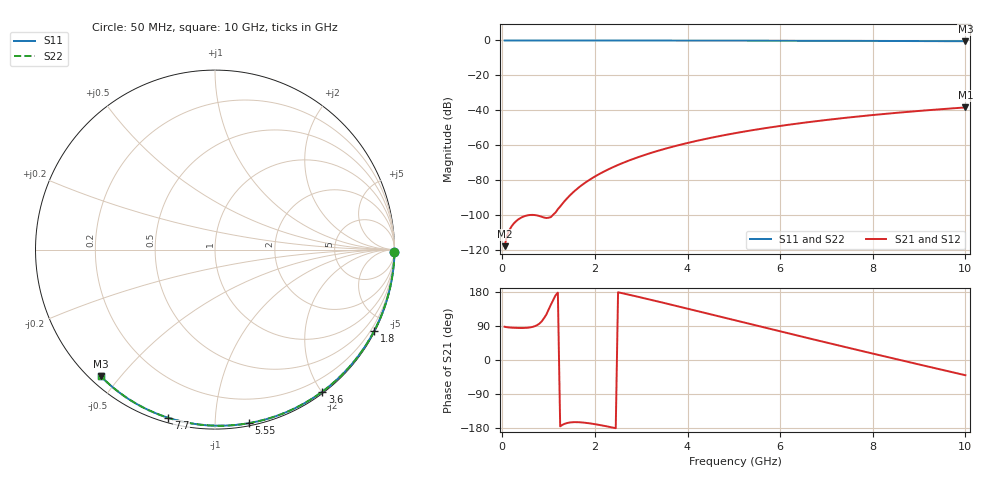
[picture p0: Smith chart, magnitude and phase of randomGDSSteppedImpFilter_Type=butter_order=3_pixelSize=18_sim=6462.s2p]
! freq	dB(S11)	phase(S11)	dB(S12)	phase(S12)
!  dB(S21)	phase(S21)	dB(S22)	phase(S22)
!S-par simulation data
#  GHz  S  DB  R 50
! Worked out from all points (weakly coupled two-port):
!   200 points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, 50 MHz to 10 GHz, reference 50 ohm
!   highest |S21| = -38.39 dB at 10 GHz (marker M1); lowest = -117.9 dB at 50 MHz (marker M2)
!   lowest |S11| = -0.4 dB at 10 GHz (marker M3), VSWR 38.98, Z = 1.54 - j22.2 ohm
!   |S11| at or under -10 dB: nowhere
!   |S22| runs from -0.4 to 0.0 dB; largest |S21 - S12| = 0
!   S11 on the Smith chart (normalised r, x): 50 MHz: open; 1.8 GHz: 0.04, -4.15; 3.6 GHz: 0.02, -2.01; 5.55 GHz: 0.02, -1.21; 7.7 GHz: 0.02, -0.76; 10 GHz: 0.03, -0.44
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0.05  -0.00 -0.8  -117.92 87.8  -117.92 87.8  -0.00 -0.8
0.9  -0.02 -13.7  -101.48 110.1  -101.48 110.1  -0.02 -13.6
1.75  -0.03 -26.3  -82.28 -165.1  -82.28 -165.1  -0.03 -26.3
1.8  -0.03 -27.1  -81.34 -165.8  -81.34 -165.8  -0.03 -27.0
1.85  -0.04 -27.8  -80.45 -166.5  -80.45 -166.5  -0.04 -27.8
1.9  -0.04 -28.5  -79.59 -167.4  -79.59 -167.4  -0.04 -28.5
2.05  -0.04 -30.7  -77.21 -170.3  -77.21 -170.3  -0.04 -30.7
2.25  -0.04 -33.7  -74.40 -174.9  -74.40 -174.9  -0.04 -33.6
2.45  -0.05 -36.6  -71.92 -180.0  -71.92 -180.0  -0.05 -36.5
2.65  -0.05 -39.5  -69.70 174.7  -69.70 174.7  -0.05 -39.4
3  -0.06 -44.5  -66.29 164.9  -66.29 164.9  -0.06 -44.4
3.4  -0.07 -50.1  -62.95 153.3  -62.95 153.3  -0.07 -50.1
3.6  -0.07 -52.9  -61.46 147.4  -61.46 147.4  -0.07 -52.9
4.3  -0.09 -62.6  -56.95 126.5  -56.95 126.5  -0.09 -62.5
5.05  -0.11 -72.6  -53.03 104.0  -53.03 104.0  -0.11 -72.5
5.55  -0.13 -79.1  -50.80 89.0  -50.80 89.0  -0.13 -79.0
6.1  -0.15 -86.0  -48.62 72.6  -48.62 72.6  -0.15 -86.0
6.7  -0.18 -93.5  -46.52 54.9  -46.52 54.9  -0.18 -93.4
7.7  -0.24 -105.6  -43.54 25.6  -43.54 25.6  -0.24 -105.4
8.35  -0.29 -113.2  -41.87 6.8  -41.87 6.8  -0.29 -113.1
9.15  -0.36 -122.4  -40.06 -16.1  -40.06 -16.1  -0.36 -122.3
10  -0.45 -132.1  -38.39 -40.2  -38.39 -40.2  -0.45 -131.9
